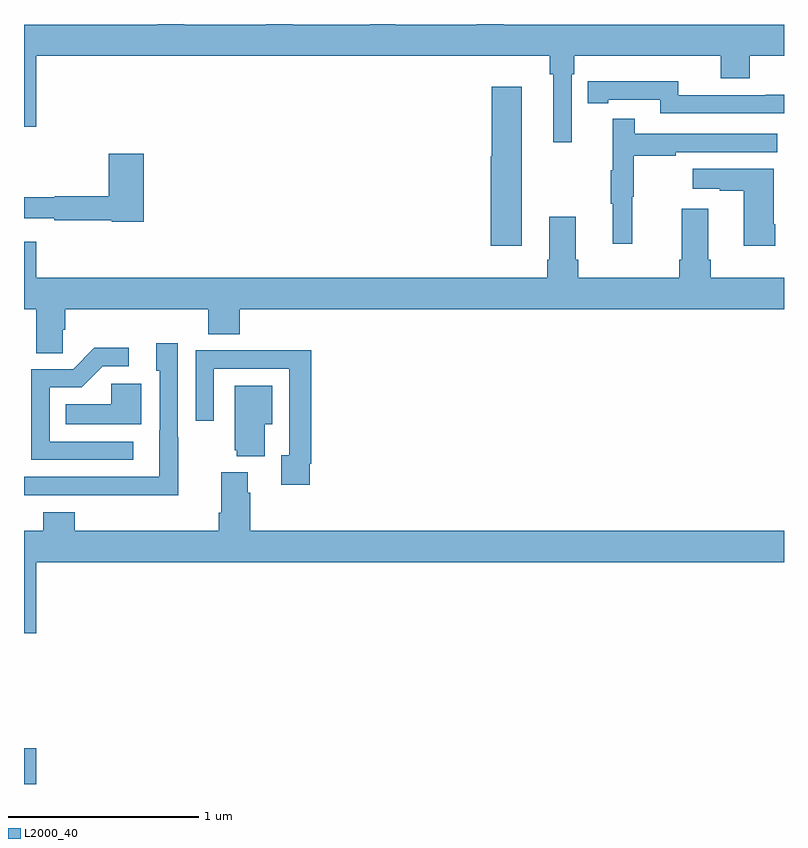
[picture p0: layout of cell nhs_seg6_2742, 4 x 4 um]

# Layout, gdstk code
import gdstk
lib = gdstk.Library(unit=1e-6, precision=1e-09)
def R(c, l, rs):  # rectangles x0, y0, x1, y1
    for r in rs: c.add(gdstk.rectangle(r[:2], r[2:], *l))
def P(c, l, *ps):  # polygons
    for p in ps: c.add(gdstk.Polygon(p, *l))
L2000_40 = (2000, 40)

nhs_seg6_2742 = lib.new_cell('nhs_seg6_2742')
R(nhs_seg6_2742, L2000_40, [(273,947.5,273.064,947.689)])
P(nhs_seg6_2742, L2000_40, [(275.883,951.236),(275.897,951.236),(275.897,951.332),(276.668,951.332),(276.668,951.215),(276.821,951.215),(276.821,951.332),(277,951.332),(277,951.496),(275.524,951.496),(275.524,951.5),(275.384,951.5),(275.384,951.496),(274.954,951.496),(274.954,951.5),(274.823,951.5),(274.823,951.496),(274.414,951.496),(274.414,951.5),(274.274,951.5),(274.274,951.496),(273.844,951.496),(273.844,951.5),(273.701,951.5),(273.701,951.496),(273,951.496),(273,950.958),(273.064,950.958),(273.064,951.332),(275.767,951.332),(275.767,951.236),(275.786,951.236),(275.786,950.877),(275.883,950.877)],
  [(277,951.128),(276.904,951.128),(276.904,951.126),(276.444,951.126),(276.444,951.199),(276.076,951.199),(276.076,951.198),(275.968,951.198),(275.968,951.082),(276.076,951.082),(276.076,951.102),(276.348,951.102),(276.348,951.03),(277,951.03)],
  [(275.62,951.169),(275.462,951.169),(275.462,950.805),(275.456,950.805),(275.456,950.334),(275.62,950.334)],
  [(276.2,950.592),(276.208,950.592),(276.208,950.806),(276.431,950.806),(276.431,950.826),(276.964,950.826),(276.964,950.922),(276.215,950.922),(276.215,951.001),(276.098,951.001),(276.098,950.729),(276.087,950.729),(276.087,950.555),(276.098,950.555),(276.098,950.343),(276.2,950.343)],
  [(273.629,950.818),(273.446,950.818),(273.446,950.594),(273.162,950.594),(273.162,950.587),(273,950.587),(273,950.478),(273.16,950.478),(273.16,950.466),(273.462,950.466),(273.462,950.458),(273.629,950.458)],
  [(276.954,950.446),(276.946,950.446),(276.946,950.737),(276.519,950.737),(276.519,950.633),(276.662,950.633),(276.662,950.623),(276.788,950.623),(276.788,950.334),(276.954,950.334)],
  [(273.204,949.891),(273.218,949.891),(273.218,950),(273.971,950),(273.971,949.867),(274.136,949.867),(274.136,950),(277,950),(277,950.164),(276.614,950.164),(276.614,950.26),(276.601,950.26),(276.601,950.527),(276.461,950.527),(276.461,950.26),(276.449,950.26),(276.449,950.164),(275.918,950.164),(275.918,950.26),(275.905,950.26),(275.905,950.485),(275.765,950.485),(275.765,950.26),(275.753,950.26),(275.753,950.164),(273.064,950.164),(273.064,950.353),(273,950.353),(273,950),(273.065,950),(273.065,949.768),(273.204,949.768)],
  [(273.813,949.325),(273.81,949.325),(273.81,949.819),(273.695,949.819),(273.695,949.674),(273.714,949.674),(273.714,949.361),(273.713,949.361),(273.713,949.116),(273,949.116),(273,949.02),(273.349,949.02),(273.349,949.019),(273.813,949.019)],
  [(273.574,949.302),(273.135,949.302),(273.135,949.587),(273.304,949.587),(273.415,949.698),(273.55,949.698),(273.55,949.796),(273.371,949.796),(273.258,949.683),(273.039,949.683),(273.039,949.206),(273.574,949.206)],
  [(274.504,949.186),(274.511,949.186),(274.511,949.784),(274.219,949.784),(274.219,949.782),(273.903,949.782),(273.903,949.413),(273.999,949.413),(273.999,949.686),(274.395,949.686),(274.395,949.23),(274.355,949.23),(274.355,949.074),(274.504,949.074)],
  [(273.616,949.606),(273.459,949.606),(273.459,949.498),(273.22,949.498),(273.22,949.394),(273.616,949.394)],
  [(274.267,949.394),(274.306,949.394),(274.306,949.597),(274.109,949.597),(274.109,949.257),(274.121,949.257),(274.121,949.226),(274.267,949.226)],
  [(273.064,948.668),(277,948.668),(277,948.832),(274.19,948.832),(274.19,949.034),(274.177,949.034),(274.177,949.141),(274.037,949.141),(274.037,948.928),(274.025,948.928),(274.025,948.832),(273.266,948.832),(273.266,948.931),(273.101,948.931),(273.101,948.832),(273,948.832),(273,948.294),(273.064,948.294)])

lib.write_gds('nhs_seg6_2742.gds')
